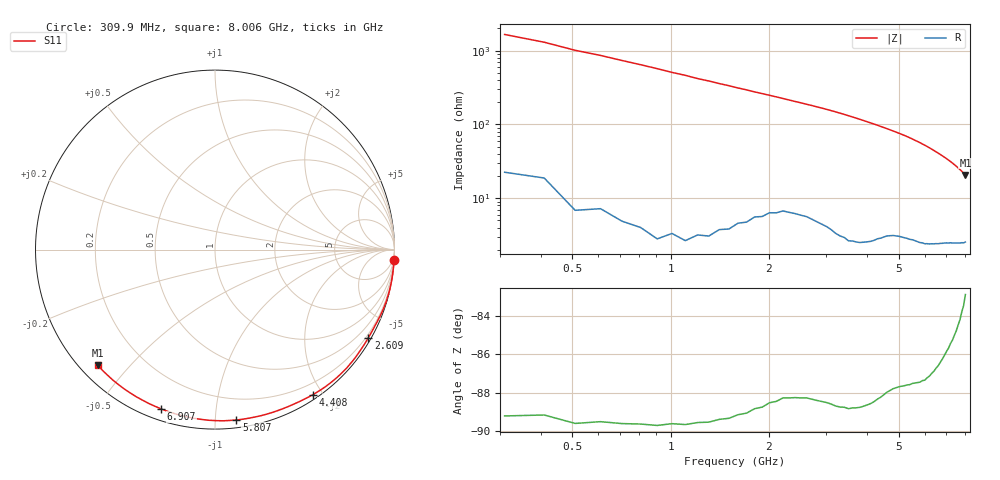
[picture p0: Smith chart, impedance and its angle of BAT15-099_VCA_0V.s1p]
! Infineon Technologies  Discrete & RF Semiconductors
! BAT15-099
! VCA = 0 V
! One-Port S-Parameters
# Hz  S  MA  R  50
!f  S11
!Hz  Mag  Ang
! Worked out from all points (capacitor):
!   78 points, 309.9 MHz to 8.006 GHz, reference 50 ohm
!   read as one part to ground: C = 309 fF near 309.9 MHz
!   lowest |Z| = 20.6 ohm at 8.006 GHz (marker M1)
!   S11 on the Smith chart (normalised r, x): 309.9 MHz: 0, -33; 2.609 GHz: 0.11, -3.75; 4.408 GHz: 0.06, -1.87; 5.807 GHz: 0.05, -1.13; 6.907 GHz: 0.05, -0.72; 8.006 GHz: 0.05, -0.41
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3.0985e8  0.9992 -3.5
4.098e8  0.9989 -4.4
5.0975e8  0.9993 -5.7
9.0955e8  0.9991 -10.0
1.30935e9  0.998 -14.7
1.70915e9  0.9947 -19.3
2.30885e9  0.9868 -26.3
2.6087e9  0.9852 -29.8
2.90855e9  0.9854 -33.5
3.2084e9  0.9864 -37.4
3.50825e9  0.9867 -41.7
3.70815e9  0.9853 -44.7
4.2079e9  0.979 -52.7
4.4078e9  0.9748 -56.1
4.8076e9  0.9664 -63.0
5.2074e9  0.962 -70.4
5.50725e9  0.9589 -76.4
5.8071e9  0.957 -82.9
6.10695e9  0.9529 -89.7
6.30685e9  0.9493 -94.4
6.50675e9  0.9453 -99.2
6.70665e9  0.9412 -103.9
6.90655e9  0.9369 -108.6
7.10645e9  0.9332 -113.4
7.30635e9  0.9298 -118.2
7.50625e9  0.9265 -123.1
7.8061e9  0.9208 -130.5
8.006e9  0.9163 -135.4
